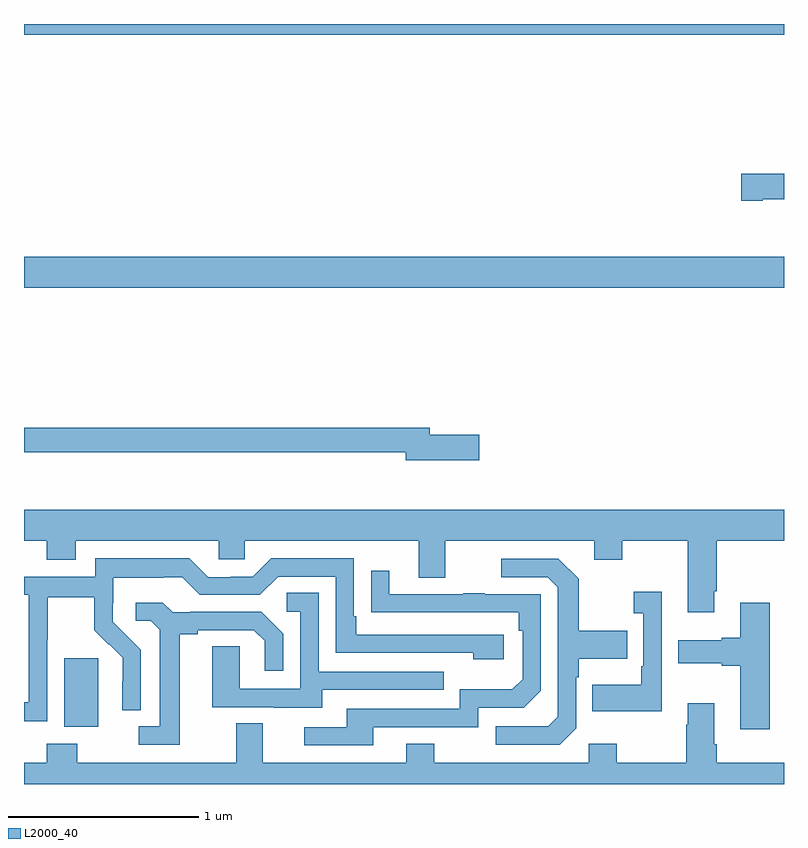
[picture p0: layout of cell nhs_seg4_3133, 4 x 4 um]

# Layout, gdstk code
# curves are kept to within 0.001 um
import gdstk
lib = gdstk.Library(unit=1e-6, precision=1e-09)
def R(c, l, rs):  # rectangles x0, y0, x1, y1
    for r in rs: c.add(gdstk.rectangle(r[:2], r[2:], *l))
def P(c, l, *ps):  # polygons
    for p in ps: c.add(gdstk.Polygon(p, *l))
L2000_40 = (2000, 40)

nhs_seg4_3133 = lib.new_cell('nhs_seg4_3133')
R(nhs_seg4_3133, L2000_40, [(277.211,769.202,277.39,769.563), (277,771.512,281,771.676), (277,772.844,281,772.9)])
P(nhs_seg4_3133, L2000_40, [(280.888,771.977),(281,771.977),(281,772.112),(280.776,772.112),(280.776,771.97),(280.888,771.97)],
  [(279.397,770.738),(279.136,770.738),(279.136,770.774),(277,770.774),(277,770.646),(279.008,770.646),(279.008,770.603),(279.397,770.603)],
  [(280.633,769.915),(280.646,769.915),(280.646,770.18),(281,770.18),(281,770.344),(277,770.344),(277,770.18),(277.121,770.18),(277.121,770.081),(277.273,770.081),(277.273,770.18),(278.025,770.18),(278.025,770.082),(278.163,770.082),(278.163,770.18),(279.077,770.18),(279.077,769.986),(279.217,769.986),(279.217,770.18),(280.001,770.18),(280.001,770.081),(280.149,770.081),(280.149,770.18),(280.493,770.18),(280.493,769.803),(280.633,769.803)],
  [(277.122,769.66),(277.125,769.66),(277.125,769.884),(277.369,769.884),(277.369,769.709),(277.446,769.632),(277.449,769.635),(277.52,769.565),(277.52,769.442),(277.518,769.442),(277.518,769.288),(277.614,769.288),(277.614,769.606),(277.468,769.754),(277.468,769.851),(277.47,769.851),(277.47,769.985),(277.733,769.985),(277.733,769.989),(277.833,769.989),(277.926,769.896),(278.241,769.896),(278.337,769.992),(278.64,769.992),(278.64,769.59),(279.365,769.59),(279.365,769.556),(279.526,769.556),(279.526,769.686),(278.749,769.686),(278.749,769.783),(278.736,769.783),(278.736,770.088),(278.301,770.088),(278.205,769.992),(278.087,769.992),(278.087,769.989),(277.971,769.989),(277.871,770.089),(277.374,770.089),(277.374,769.992),(277,769.992),(277,769.896),(277.026,769.896),(277.026,769.329),(277,769.329),(277,769.231),(277.122,769.231)],
  [(279.906,769.194),(279.906,769.463),(279.919,769.463),(279.919,769.559),(280.175,769.559),(280.175,769.707),(279.919,769.707),(279.919,769.979),(279.813,770.085),(279.513,770.085),(279.513,769.989),(279.756,769.989),(279.81,769.935),(279.81,769.254),(279.759,769.203),(279.483,769.203),(279.483,769.107),(279.819,769.107)],
  [(278.839,769.2),(279.39,769.2),(279.39,769.302),(279.63,769.302),(279.72,769.392),(279.72,769.899),(279.425,769.899),(279.425,769.904),(279.313,769.904),(279.313,769.899),(278.923,769.899),(278.923,770.023),(278.827,770.023),(278.827,769.804),(279.604,769.803),(279.604,769.706),(279.624,769.706),(279.624,769.452),(279.571,769.399),(279.294,769.399),(279.294,769.296),(278.699,769.296),(278.699,769.2),(278.475,769.2),(278.475,769.104),(278.839,769.104)],
  [(280.356,769.912),(280.209,769.912),(280.209,769.799),(280.26,769.799),(280.26,769.519),(280.248,769.519),(280.248,769.423),(279.991,769.423),(279.991,769.283),(280.356,769.283)],
  [(278.569,769.395),(279.209,769.395),(279.209,769.491),(278.55,769.491),(278.55,769.907),(278.382,769.907),(278.382,769.806),(278.454,769.806),(278.454,769.401),(278.136,769.401),(278.136,769.625),(277.991,769.625),(277.991,769.305),(278.315,769.305),(278.315,769.301),(278.569,769.301)],
  [(280.924,769.855),(280.769,769.855),(280.769,769.67),(280.673,769.67),(280.673,769.657),(280.443,769.657),(280.443,769.535),(280.673,769.535),(280.673,769.523),(280.769,769.523),(280.769,769.188),(280.924,769.188)],
  [(277.819,769.688),(277.915,769.688),(277.915,769.71),(278.21,769.71),(278.267,769.653),(278.267,769.497),(278.364,769.497),(278.364,769.69),(278.248,769.806),(277.876,769.806),(277.876,769.803),(277.782,769.803),(277.73,769.855),(277.587,769.855),(277.587,769.758),(277.668,769.758),(277.715,769.711),(277.715,769.203),(277.605,769.203),(277.605,769.107),(277.819,769.107)],
  [(281,769.012),(280.646,769.012),(280.646,769.108),(280.633,769.108),(280.633,769.324),(280.493,769.324),(280.493,769.211),(280.486,769.211),(280.486,769.012),(280.119,769.012),(280.119,769.111),(279.972,769.111),(279.972,769.012),(279.159,769.012),(279.159,769.111),(279.011,769.111),(279.011,769.012),(278.257,769.012),(278.257,769.22),(278.117,769.22),(278.117,769.012),(277.281,769.012),(277.281,769.111),(277.121,769.111),(277.121,769.012),(277,769.012),(277,768.9),(281,768.9)])

lib.write_gds('nhs_seg4_3133.gds')
